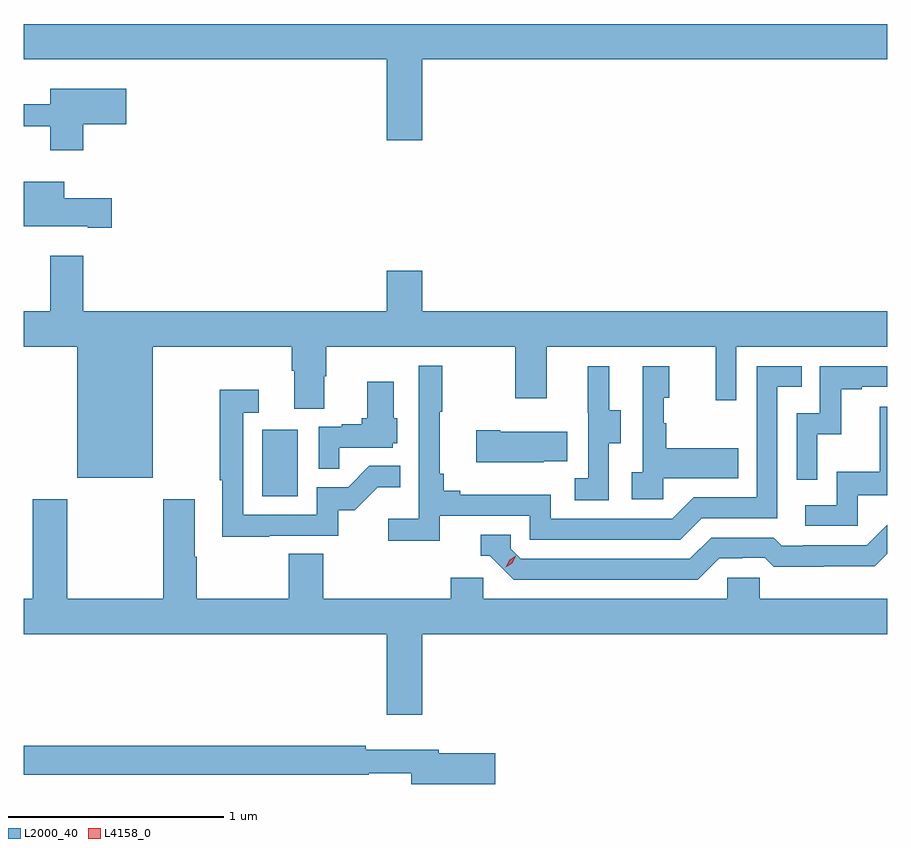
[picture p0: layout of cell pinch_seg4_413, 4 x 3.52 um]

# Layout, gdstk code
import gdstk
lib = gdstk.Library(unit=1e-6, precision=1e-09)
def R(c, l, rs):  # rectangles x0, y0, x1, y1
    for r in rs: c.add(gdstk.rectangle(r[:2], r[2:], *l))
def P(c, l, *ps):  # polygons
    for p in ps: c.add(gdstk.Polygon(p, *l))
L2000_40 = (2000, 40)
L4158_0 = (4158, 0)

pinch_seg4_413 = lib.new_cell('pinch_seg4_413')
R(pinch_seg4_413, L2000_40, [(1015.58,786.804,1015.744,787.111)])
P(pinch_seg4_413, L2000_40, [(1016.32,788.828),(1018.475,788.828),(1018.475,788.992),(1014.475,788.992),(1014.475,788.828),(1016.156,788.828),(1016.156,788.454),(1016.32,788.454)],
  [(1014.749,788.527),(1014.949,788.527),(1014.949,788.692),(1014.596,788.692),(1014.596,788.621),(1014.475,788.621),(1014.475,788.518),(1014.596,788.518),(1014.596,788.406),(1014.749,788.406)],
  [(1014.883,788.184),(1014.661,788.184),(1014.661,788.26),(1014.475,788.26),(1014.475,788.054),(1014.77,788.054),(1014.77,788.047),(1014.883,788.047)],
  [(1015.072,787.496),(1015.715,787.496),(1015.715,787.384),(1015.727,787.384),(1015.727,787.21),(1015.867,787.21),(1015.867,787.359),(1015.875,787.359),(1015.875,787.496),(1016.752,787.496),(1016.752,787.257),(1016.899,787.257),(1016.899,787.496),(1017.68,787.496),(1017.68,787.248),(1017.777,787.248),(1017.777,787.496),(1018.475,787.496),(1018.475,787.66),(1016.32,787.66),(1016.32,787.849),(1016.156,787.849),(1016.156,787.66),(1014.749,787.66),(1014.749,787.918),(1014.596,787.918),(1014.596,787.66),(1014.475,787.66),(1014.475,787.496),(1014.722,787.496),(1014.722,786.89),(1015.072,786.89)],
  [(1016.402,786.714),(1016.82,786.714),(1016.82,786.603),(1017.517,786.603),(1017.616,786.702),(1017.966,786.702),(1017.966,787.311),(1018.079,787.311),(1018.079,787.407),(1017.87,787.407),(1017.87,786.798),(1017.579,786.798),(1017.48,786.699),(1016.916,786.699),(1016.916,786.811),(1016.497,786.811),(1016.497,786.83),(1016.42,786.83),(1016.42,786.907),(1016.401,786.907),(1016.401,787.195),(1016.413,787.195),(1016.413,787.408),(1016.304,787.408),(1016.304,786.7),(1016.163,786.7),(1016.163,786.598),(1016.402,786.598)],
  [(1018.152,787.091),(1018.262,787.091),(1018.262,787.299),(1018.357,787.299),(1018.357,787.311),(1018.475,787.311),(1018.475,787.407),(1018.164,787.407),(1018.164,787.188),(1018.056,787.188),(1018.056,786.879),(1018.152,786.879)],
  [(1017.438,786.887),(1017.785,786.887),(1017.785,787.027),(1017.451,787.027),(1017.451,787.142),(1017.441,787.142),(1017.441,787.26),(1017.466,787.26),(1017.466,787.405),(1017.342,787.405),(1017.342,786.914),(1017.291,786.914),(1017.291,786.789),(1017.438,786.789)],
  [(1017.186,787.048),(1017.241,787.048),(1017.241,787.203),(1017.187,787.203),(1017.187,787.405),(1017.089,787.405),(1017.089,787.191),(1017.09,787.191),(1017.09,786.887),(1017.027,786.887),(1017.027,786.784),(1017.186,786.784)],
  [(1015.937,787.029),(1016.184,787.029),(1016.184,787.05),(1016.206,787.05),(1016.206,787.164),(1016.188,787.164),(1016.188,787.333),(1016.066,787.333),(1016.066,787.164),(1016.041,787.164),(1016.041,787.138),(1015.949,787.138),(1015.949,787.125),(1015.842,787.125),(1015.842,786.931),(1015.937,786.931)],
  [(1015.613,786.621),(1015.932,786.621),(1015.932,786.738),(1016.008,786.738),(1016.115,786.845),(1016.219,786.845),(1016.219,786.944),(1016.075,786.944),(1015.977,786.846),(1015.833,786.846),(1015.833,786.717),(1015.491,786.717),(1015.491,787.191),(1015.564,787.191),(1015.564,787.297),(1015.383,787.297),(1015.383,786.877),(1015.395,786.877),(1015.395,786.616),(1015.613,786.616)],
  [(1018.338,786.807),(1018.475,786.807),(1018.475,787.219),(1018.441,787.219),(1018.441,786.916),(1018.242,786.916),(1018.242,786.762),(1018.095,786.762),(1018.095,786.666),(1018.338,786.666)],
  [(1016.885,786.965),(1016.993,786.965),(1016.993,787.102),(1016.683,787.102),(1016.683,787.11),(1016.571,787.11),(1016.571,786.962),(1016.885,786.962)],
  [(1016.32,786.164),(1018.475,786.164),(1018.475,786.328),(1017.885,786.328),(1017.885,786.426),(1017.735,786.426),(1017.735,786.328),(1016.604,786.328),(1016.604,786.426),(1016.453,786.426),(1016.453,786.328),(1015.862,786.328),(1015.862,786.536),(1015.702,786.536),(1015.702,786.328),(1015.275,786.328),(1015.275,786.524),(1015.267,786.524),(1015.267,786.79),(1015.12,786.79),(1015.12,786.328),(1014.675,786.328),(1014.675,786.79),(1014.515,786.79),(1014.515,786.328),(1014.475,786.328),(1014.475,786.164),(1016.156,786.164),(1016.156,785.79),(1016.32,785.79)],
  [(1017.697,786.516),(1017.804,786.516),(1017.804,786.519),(1017.907,786.519),(1017.949,786.477),(1018.182,786.477),(1018.182,786.479),(1018.418,786.479),(1018.475,786.536),(1018.475,786.671),(1018.38,786.576),(1018.087,786.576),(1018.087,786.573),(1017.988,786.573),(1017.949,786.612),(1017.66,786.612),(1017.561,786.513),(1016.778,786.513),(1016.73,786.561),(1016.73,786.624),(1016.591,786.624),(1016.591,786.528),(1016.634,786.528),(1016.745,786.417),(1017.598,786.417)],
  [(1016.659,785.612),(1016.398,785.612),(1016.398,785.629),(1016.06,785.629),(1016.06,785.648),(1014.475,785.648),(1014.475,785.512),(1016.074,785.512),(1016.074,785.52),(1016.27,785.52),(1016.27,785.47),(1016.659,785.47)])
P(pinch_seg4_413, L4158_0, [(1016.707,786.474),(1016.707,786.475),(1016.723,786.507),(1016.754,786.527),(1016.754,786.527),(1016.754,786.527),(1016.738,786.494),(1016.708,786.474)])

lib.write_gds('pinch_seg4_413.gds')
